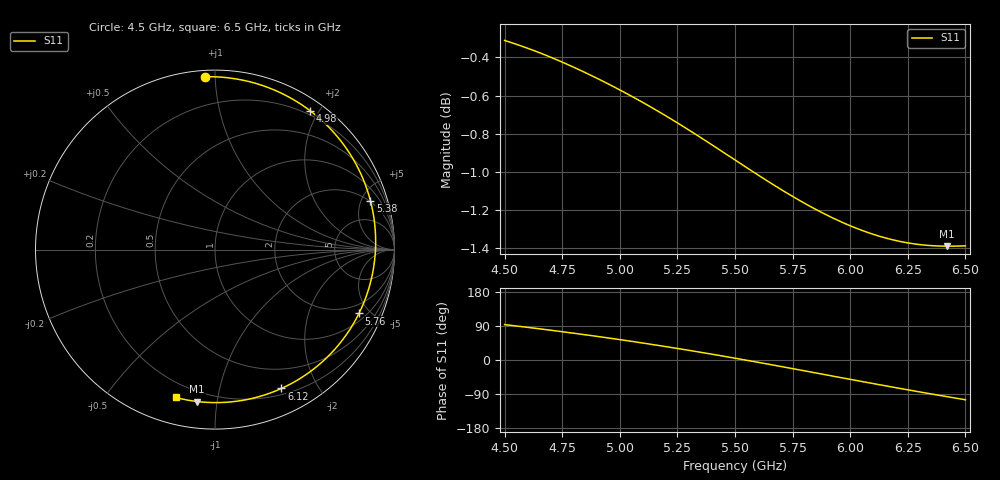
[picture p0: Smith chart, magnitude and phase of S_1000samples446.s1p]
! TOUCHSTONE file generated by CST MICROWAVE STUDIO
! Date and time: Fri Oct 28 05:01:58 2022
! Project name: L.cst
! Parameters = {Di=1.27; Epsilon_r=1.56; InnerDiameter=1.27; Length=2; Lf=10; Lg=60; OuterConductorThickness=0.2921; OuterDiameter=3.6; Wf=3; Wp=41.2; de=1.5; df=6.8; g=0.8; gx=4.46718; gy=2.99163; h=2.34; hf=1.524; px=9.46845; py=10.4878; w=9.7; wx=5.00127; wy=7.49615}
! Header version: 2018
! Port assignment regex: !\s*Touchstone port\s*([0-9]+)\s*=\s*(CST MWS port|CST DS port)\s*([0-9]+|Zmin|Zmax)\s*\(\"(.*)\"\)(\s*mode\s*([0-9]+))?.*
! Touchstone port assignment:
! Touchstone port 1 = CST MWS port 1 ("")
# GHz S DB R 50
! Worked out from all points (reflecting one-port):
!   101 points, 4.5 GHz to 6.5 GHz, reference 50 ohm
!   lowest |S11| = -1.4 dB at 6.42 GHz (marker M1), VSWR 12.54, Z = 7.11 - j44 ohm
!   phase of S11 starts at 93 deg and turns -198 deg over the sweep
!   S11 on the Smith chart (normalised r, x): 4.5 GHz: 0.03, +0.94; 4.98 GHz: 0.15, +1.89; 5.38 GHz: 1.93, +5.94; 5.76 GHz: 1.39, -4.30; 6.12 GHz: 0.27, -1.55; 6.5 GHz: 0.13, -0.76
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4.5  -0.31 93.4
4.64  -0.37 83.1
4.76  -0.43 73.9
4.88  -0.50 64.1
4.98  -0.56 55.5
5  -0.57 53.8
5.12  -0.65 42.9
5.2  -0.71 35.3
5.26  -0.75 29.5
5.32  -0.80 23.5
5.38  -0.84 17.4
5.44  -0.89 11.1
5.5  -0.94 4.7
5.56  -0.98 -1.7
5.62  -1.03 -8.3
5.68  -1.08 -14.9
5.76  -1.13 -23.9
5.82  -1.18 -30.7
5.88  -1.21 -37.5
5.94  -1.25 -44.2
6  -1.28 -51.0
6.06  -1.31 -57.8
6.12  -1.33 -64.4
6.18  -1.35 -71.1
6.26  -1.37 -79.8
6.34  -1.38 -88.3
6.42  -1.39 -96.7
6.5  -1.39 -104.9
